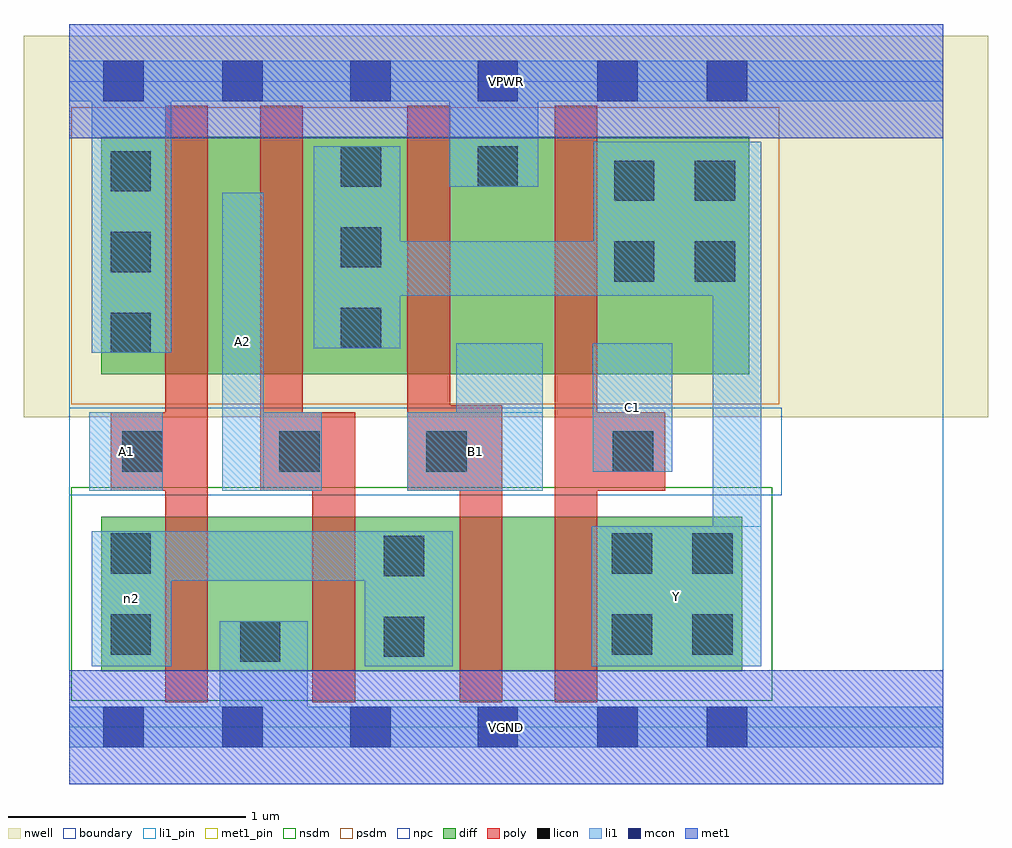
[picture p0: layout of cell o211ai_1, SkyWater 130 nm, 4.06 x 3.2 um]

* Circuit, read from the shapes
.subckt o211ai_1 A1 A2 B1 C1 VGND VPWR Y n2
XM1 VGND A1 n2 VSUBS sky130_fd_pr__nfet_01v8 w=0.65 l=0.18
XM2 n2 A2 VGND VSUBS sky130_fd_pr__nfet_01v8 w=0.65 l=0.18
XM3 n1 B1 n2 VSUBS sky130_fd_pr__nfet_01v8 w=0.65 l=0.18
XM4 Y C1 n1 VSUBS sky130_fd_pr__nfet_01v8 w=0.65 l=0.18
XM5 n3 A1 VPWR n4 sky130_fd_pr__pfet_01v8 w=1 l=0.18
XM6 Y A2 n3 n4 sky130_fd_pr__pfet_01v8 w=1 l=0.18
XM7 VPWR B1 Y n4 sky130_fd_pr__pfet_01v8 w=1 l=0.18
XM8 Y C1 VPWR n4 sky130_fd_pr__pfet_01v8 w=1 l=0.18
.ends

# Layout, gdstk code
import gdstk
lib = gdstk.Library(unit=1e-6, precision=1e-09)
def R(c, l, rs):  # rectangles x0, y0, x1, y1
    for r in rs: c.add(gdstk.rectangle(r[:2], r[2:], *l))
def A(c, l, x, y, w, h, nx, ny, dx, dy):  # array of equal rectangles
    R(c, l, [(x+i*dx, y+j*dy, x+i*dx+w, y+j*dy+h) for i in range(nx) for j in range(ny)])
nwell = (64, 20)
diff = (65, 20)
poly = (66, 20)
licon = (66, 44)
li1_pin = (67, 16)
li1 = (67, 20)
mcon = (67, 44)
met1_pin = (68, 16)
met1 = (68, 20)
nsdm = (93, 44)
psdm = (94, 20)
npc = (95, 20)
boundary = (235, 4)

o211ai_1 = lib.new_cell('o211ai_1')
R(o211ai_1, nwell, [(-0.19,1.305,3.87,2.91), (0,1.305,3.68,2.91)])
R(o211ai_1, diff, [(0.135,0.235,2.835,0.885), (0.135,1.485,2.865,2.485)])
R(o211ai_1, poly, [(0.405,0.105,0.585,2.615), (1.025,0.105,1.205,1.325), (1.645,0.105,1.825,1.355), (2.045,0.105,2.225,2.615), (0.175,0.995,0.585,1.325), (0.805,0.995,0.985,2.615), (0.805,0.995,1.205,1.325), (1.425,0.995,1.605,2.615), (1.425,0.995,1.825,1.355), (2.045,0.995,2.51,1.325)])
A(o211ai_1, licon, 0.175, 1.575, 0.17, 0.17, 1, 3, 0, 0.34)
A(o211ai_1, licon, 1.145, 1.595, 0.17, 0.17, 1, 3, 0, 0.34)
R(o211ai_1, licon, [(0.72,0.275,0.89,0.445), (1.325,0.295,1.495,0.465), (0.175,0.305,0.345,0.475), (2.285,0.305,2.455,0.475), (2.625,0.305,2.795,0.475), (1.325,0.635,1.495,0.805), (0.175,0.645,0.345,0.815), (2.285,0.645,2.455,0.815), (2.625,0.645,2.795,0.815), (0.225,1.075,0.395,1.245), (0.885,1.075,1.055,1.245), (1.505,1.075,1.675,1.245), (2.29,1.075,2.46,1.245), (2.295,1.875,2.465,2.045), (2.635,1.875,2.805,2.045), (2.295,2.215,2.465,2.385), (2.635,2.215,2.805,2.385), (1.72,2.275,1.89,2.445)])
R(o211ai_1, li1_pin, [(2.2,0.255,2.915,0.845), (0.085,0.995,0.395,1.325), (0.645,0.995,0.82,2.25), (1.425,0.995,1.995,1.325), (2.205,1.075,2.54,1.615)])
R(o211ai_1, li1, [(0,-0.085,3.68,0.085), (0.635,-0.085,1.005,0.445), (0.095,0.255,0.43,0.825), (1.245,0.255,1.615,0.825), (2.2,0.255,2.915,0.845), (2.71,0.255,2.915,2.465), (0.095,0.615,1.615,0.825), (0.085,0.995,0.395,1.325), (0.645,0.995,0.82,2.25), (0.645,0.995,1.065,1.325), (1.425,0.995,1.995,1.325), (1.63,0.995,1.995,1.615), (2.205,1.075,2.54,1.615), (0.095,1.575,0.43,2.805), (1.03,1.595,1.395,2.445), (1.03,1.815,2.915,2.045), (2.21,1.815,2.915,2.465), (1.6,2.275,1.975,2.805), (0,2.635,3.68,2.805)])
R(o211ai_1, mcon, [(0.145,-0.085,0.315,0.085), (0.645,-0.085,0.815,0.085), (1.185,-0.085,1.355,0.085), (1.72,-0.085,1.89,0.085), (2.225,-0.085,2.395,0.085), (2.685,-0.085,2.855,0.085), (0.145,2.635,0.315,2.805), (0.645,2.635,0.815,2.805), (1.185,2.635,1.355,2.805), (1.72,2.635,1.89,2.805), (2.225,2.635,2.395,2.805), (2.685,2.635,2.855,2.805)])
R(o211ai_1, met1_pin, [(0,-0.24,3.68,0.24), (0,2.48,3.68,2.96)])
R(o211ai_1, met1, [(0,-0.24,3.68,0.24), (0,2.48,3.68,2.96)])
R(o211ai_1, nsdm, [(0.01,0.11,2.96,1.01)])
R(o211ai_1, psdm, [(0.01,1.36,2.99,2.61)])
R(o211ai_1, npc, [(0,0.975,3,1.345)])
R(o211ai_1, boundary, [(0,0,3.68,2.72)])
o211ai_1.add(gdstk.Label('A1', (0.24,1.16), layer=67, texttype=5))
o211ai_1.add(gdstk.Label('A2', (0.732,1.622), layer=67, texttype=5))
o211ai_1.add(gdstk.Label('B1', (1.71,1.16), layer=67, texttype=5))
o211ai_1.add(gdstk.Label('C1', (2.372,1.345), layer=67, texttype=5))
o211ai_1.add(gdstk.Label('Y', (2.557,0.55), layer=67, texttype=5))
o211ai_1.add(gdstk.Label('n2', (0.262,0.54), layer=67, texttype=5))
o211ai_1.add(gdstk.Label('VPWR', (1.84,2.72), layer=68, texttype=5))
o211ai_1.add(gdstk.Label('VGND', (1.84,0), layer=68, texttype=5))
o211ai_1.add(gdstk.Label('A1', (0.24,1.16), layer=67, texttype=16))
o211ai_1.add(gdstk.Label('A2', (0.732,1.622), layer=67, texttype=16))
o211ai_1.add(gdstk.Label('B1', (1.71,1.16), layer=67, texttype=16))
o211ai_1.add(gdstk.Label('C1', (2.372,1.345), layer=67, texttype=16))
o211ai_1.add(gdstk.Label('Y', (2.557,0.55), layer=67, texttype=16))
o211ai_1.add(gdstk.Label('VPWR', (1.84,2.72), layer=68, texttype=16))
o211ai_1.add(gdstk.Label('VGND', (1.84,0), layer=68, texttype=16))

lib.write_gds('o211ai_1.gds')
